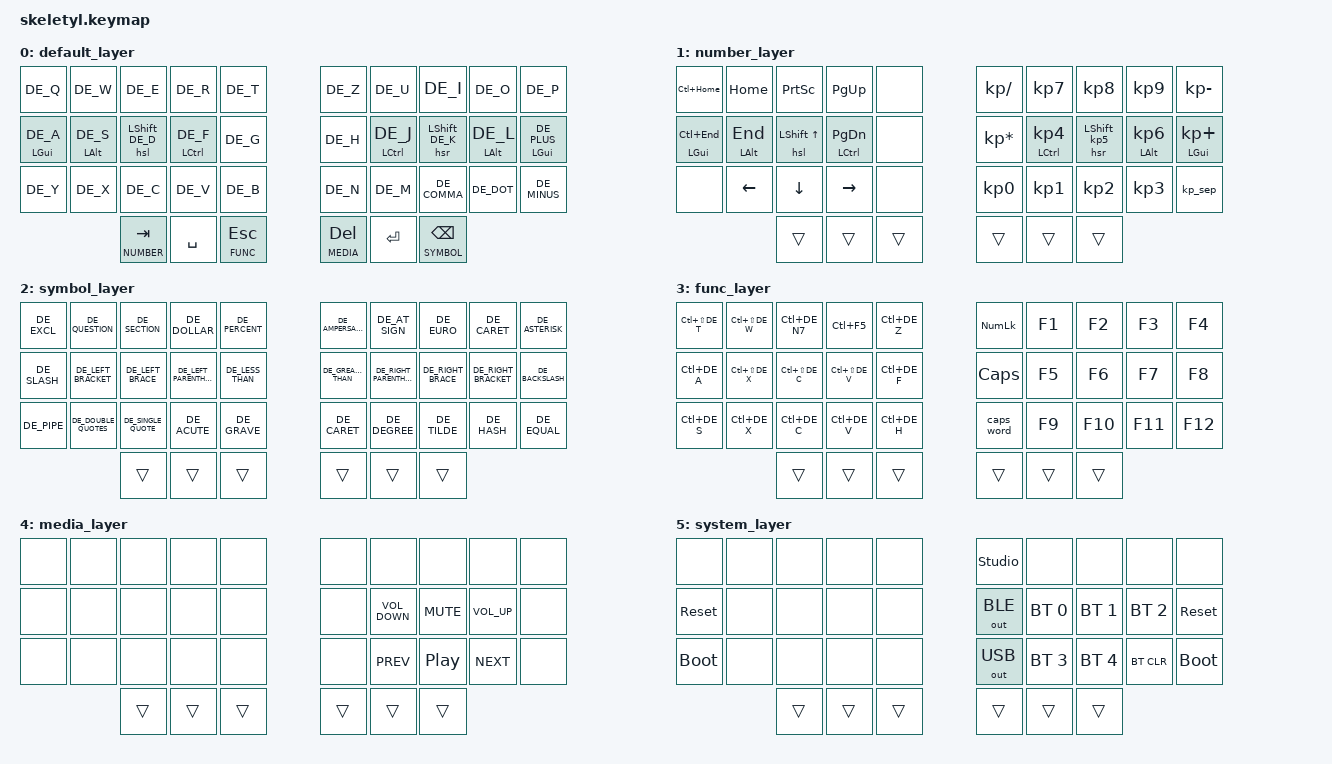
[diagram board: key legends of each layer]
#include <behaviors.dtsi>
#include <dt-bindings/zmk/bt.h>
#include <dt-bindings/zmk/keys.h>
#include <dt-bindings/zmk/outputs.h>
#include <locale/keys_de.h>
#include <zmk-helpers/helper.h>
#include <zmk-helpers/key-labels/36.h>

#define DEFAULT     0
#define NUMBER      1
#define SYMBOL      2
#define FUNC        3
#define MEDIA       4
#define SYSTEM      5

#define ZMK_HOME_ROW_MODS(ident, label, keys, prior_idle) ZMK_BEHAVIOR(ident, hold_tap, \
    display-name = label; \
    flavor = "balanced"; \
    tapping-term-ms = <280>; \
    quick-tap-ms = <240>; \
    require-prior-idle-ms = <prior_idle>; \
    hold-trigger-key-positions = <keys>; \
    hold-trigger-on-release; \
    bindings = <&kp>, <&kp>; \
)

&lt {
    flavor = "hold-preferred";
    tapping-term-ms = <280>;
    quick-tap-ms = <240>;
    require-prior-idle-ms = <120>;
};

&sk {
    quick-release;
};

&caps_word {
    continue-list = <LS(DE_MINUS) DE_MINUS BACKSPACE KP_NUMBER_0 KP_NUMBER_1 KP_NUMBER_2 KP_NUMBER_3 KP_NUMBER_4 KP_NUMBER_5 KP_NUMBER_6 KP_NUMBER_7 KP_NUMBER_8 KP_NUMBER_9>;
};

ZMK_HOME_ROW_MODS(hml, "Home Row Mods Left",   KEYS_R THUMBS,  120)
ZMK_HOME_ROW_MODS(hsl, "Home Row Shift Left",  KEYS_R THUMBS, (-1))
ZMK_HOME_ROW_MODS(hmr, "Home Row Mods Right",  KEYS_L THUMBS,  120)
ZMK_HOME_ROW_MODS(hsr, "Home Row Shift Right", KEYS_L THUMBS, (-1))

ZMK_MOD_MORPH(kp_sep,
    mods = <(MOD_LSFT)>;
    bindings = <&kp KP_COMMA>, <&kp KP_DOT>;
)

ZMK_COMBO(eszett,      &kp DE_ESZETT,   LM3 RM3, DEFAULT, 50, (-1))
ZMK_COMBO(umlaut_a,    &kp DE_A_UMLAUT, LM4 RM3, DEFAULT, 50, (-1))
ZMK_COMBO(umlaut_o,    &kp DE_O_UMLAUT, LM3 RT3, DEFAULT, 50, (-1))
ZMK_COMBO(umlaut_u,    &kp DE_U_UMLAUT, LM3 RT1, DEFAULT, 50, (-1))
ZMK_COMBO(shift_left,  &sk LEFT_SHIFT,  LM2 LM1, DEFAULT, 50, (-1))
ZMK_COMBO(shift_right, &sk RIGHT_SHIFT, RM1 RM2, DEFAULT, 50, (-1))
ZMK_COMBO(suspend,     &kp C_SLEEP,     LM0 RM0, DEFAULT, 50,  120)
ZMK_COMBO(sys_reset,   &sys_reset,      LM4 RM4, SYSTEM,  50, (-1))
ZMK_COMBO(bootloader,  &bootloader,     LB4 RB4, SYSTEM,  50, (-1))

ZMK_LAYER(default_layer,
    &kp DE_Q        &kp DE_W        &kp DE_E         &kp DE_R         &kp DE_T           &kp DE_Z          &kp DE_U         &kp DE_I              &kp DE_O        &kp DE_P
    &hml LGUI DE_A  &hml LALT DE_S  &hsl LSHFT DE_D  &hml LCTRL DE_F  &kp DE_G           &kp DE_H          &hmr LCTRL DE_J  &hsr LSHFT DE_K       &hmr LALT DE_L  &hmr LGUI DE_PLUS
    &kp DE_Y        &kp DE_X        &kp DE_C         &kp DE_V         &kp DE_B           &kp DE_N          &kp DE_M         &kp DE_COMMA          &kp DE_DOT      &kp DE_MINUS
                                    &lt NUMBER TAB   &kp SPACE        &lt FUNC ESCAPE    &lt MEDIA DELETE  &kp ENTER        &lt SYMBOL BACKSPACE
)

ZMK_LAYER(number_layer,
    &kp LC(HOME)       &kp HOME        &kp PRINTSCREEN      &kp PAGE_UP           &none     &kp KP_DIVIDE    &kp KP_NUMBER_7         &kp KP_NUMBER_8         &kp KP_NUMBER_9        &kp KP_MINUS
    &hml LGUI LC(END)  &hml LALT END   &hsl LSHFT UP_ARROW  &hml LCTRL PAGE_DOWN  &none     &kp KP_MULTIPLY  &hmr LCTRL KP_NUMBER_4  &hsr LSHFT KP_NUMBER_5  &hmr LALT KP_NUMBER_6  &hmr LGUI KP_PLUS
    &none              &kp LEFT_ARROW  &kp DOWN_ARROW       &kp RIGHT_ARROW       &none     &kp KP_NUMBER_0  &kp KP_NUMBER_1         &kp KP_NUMBER_2         &kp KP_NUMBER_3        &kp_sep
                                       &trans               &trans                &trans    &trans           &trans                  &trans
)

ZMK_LAYER(symbol_layer,
    &kp DE_EXCL   &kp DE_QUESTION       &kp DE_SECTION       &kp DE_DOLLAR            &kp DE_PERCENT      &kp DE_AMPERSAND     &kp DE_AT_SIGN            &kp DE_EURO         &kp DE_CARET          &kp DE_ASTERISK
    &kp DE_SLASH  &kp DE_LEFT_BRACKET   &kp DE_LEFT_BRACE    &kp DE_LEFT_PARENTHESIS  &kp DE_LESS_THAN    &kp DE_GREATER_THAN  &kp DE_RIGHT_PARENTHESIS  &kp DE_RIGHT_BRACE  &kp DE_RIGHT_BRACKET  &kp DE_BACKSLASH
    &kp DE_PIPE   &kp DE_DOUBLE_QUOTES  &kp DE_SINGLE_QUOTE  &kp DE_ACUTE             &kp DE_GRAVE        &kp DE_CARET         &kp DE_DEGREE             &kp DE_TILDE        &kp DE_HASH           &kp DE_EQUAL
                                        &trans               &trans                   &trans              &trans               &trans                    &trans
)

ZMK_LAYER(func_layer,
    &kp LC(LS(DE_T))  &kp LC(LS(DE_W))  &kp LC(DE_N7)     &kp LC(F5)        &kp LC(DE_Z)    &kp KP_NUMLOCK  &kp F1  &kp F2   &kp F3   &kp F4
    &kp LC(DE_A)      &kp LC(LS(DE_X))  &kp LC(LS(DE_C))  &kp LC(LS(DE_V))  &kp LC(DE_F)    &kp CAPSLOCK    &kp F5  &kp F6   &kp F7   &kp F8
    &kp LC(DE_S)      &kp LC(DE_X)      &kp LC(DE_C)      &kp LC(DE_V)      &kp LC(DE_H)    &caps_word      &kp F9  &kp F10  &kp F11  &kp F12
                                        &trans            &trans            &trans          &trans          &trans  &trans
)

ZMK_LAYER(media_layer,
    &none  &none  &none   &none   &none     &none   &none              &none             &none         &none
    &none  &none  &none   &none   &none     &none   &kp C_VOLUME_DOWN  &kp C_MUTE        &kp C_VOL_UP  &none
    &none  &none  &none   &none   &none     &none   &kp C_PREV         &kp C_PLAY_PAUSE  &kp C_NEXT    &none
                  &trans  &trans  &trans    &trans  &trans             &trans
)

ZMK_LAYER(system_layer,
    &none        &none  &none   &none   &none     &studio_unlock  &none         &none         &none         &none
    &sys_reset   &none  &none   &none   &none     &out OUT_BLE    &bt BT_SEL 0  &bt BT_SEL 1  &bt BT_SEL 2  &sys_reset
    &bootloader  &none  &none   &none   &none     &out OUT_USB    &bt BT_SEL 3  &bt BT_SEL 4  &bt BT_CLR    &bootloader
                        &trans  &trans  &trans    &trans          &trans        &trans
)

ZMK_CONDITIONAL_LAYER(system, FUNC MEDIA, SYSTEM)
